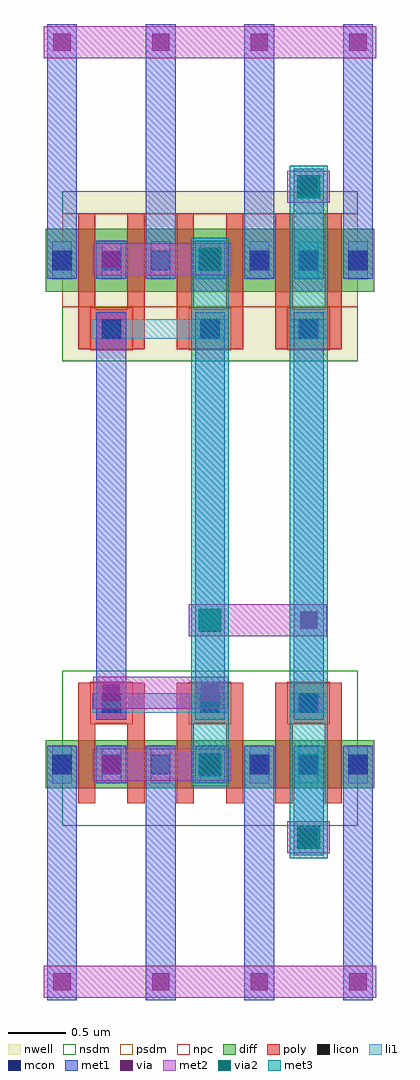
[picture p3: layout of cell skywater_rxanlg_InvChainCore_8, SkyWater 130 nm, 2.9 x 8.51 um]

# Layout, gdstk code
import gdstk
lib = gdstk.Library(unit=1e-6, precision=1e-09)
def R(c, l, rs):  # rectangles x0, y0, x1, y1
    for r in rs: c.add(gdstk.rectangle(r[:2], r[2:], *l))
def A(c, l, x, y, w, h, nx, ny, dx, dy):  # array of equal rectangles
    R(c, l, [(x+i*dx, y+j*dy, x+i*dx+w, y+j*dy+h) for i in range(nx) for j in range(ny)])
def P(c, l, *ps):  # polygons
    for p in ps: c.add(gdstk.Polygon(p, *l))
nwell = (64, 20)
diff = (65, 20)
poly = (66, 20)
licon = (66, 44)
li1 = (67, 20)
mcon = (67, 44)
met1 = (68, 20)
via = (68, 44)
met2 = (69, 20)
via2 = (69, 44)
met3 = (70, 20)
nsdm = (93, 44)
psdm = (94, 20)
npc = (95, 20)

skywater_rxanlg_mosconn_ = lib.new_cell('skywater_rxanlg_MOSConn_8')
R(skywater_rxanlg_mosconn_, diff, [(-0.14,0.605,1.86,1.025)])
R(skywater_rxanlg_mosconn_, poly, [(0.265,0.105,0.595,0.455), (1.125,0.105,1.455,0.455)])
P(skywater_rxanlg_mosconn_, poly, [(0.57,1.155),(0.57,0.455),(0.29,0.455),(0.29,1.155),(0.14,1.155),(0.14,0.105),(0.72,0.105),(0.72,1.155)],
  [(1.43,1.155),(1.43,0.455),(1.15,0.455),(1.15,1.155),(1,1.155),(1,0.105),(1.58,0.105),(1.58,1.155)])
A(skywater_rxanlg_mosconn_, licon, -0.085, 0.73, 0.17, 0.17, 5, 1, 0.43, 0)
R(skywater_rxanlg_mosconn_, licon, [(0.345,0.195,0.515,0.365), (1.205,0.195,1.375,0.365)])
A(skywater_rxanlg_mosconn_, li1, -0.085, 0.65, 0.17, 0.33, 5, 1, 0.43, 0)
A(skywater_rxanlg_mosconn_, li1, -0.085, 0.69, 0.17, 0.25, 5, 1, 0.43, 0)
R(skywater_rxanlg_mosconn_, li1, [(0.265,0.195,1.455,0.365), (0.265,0.195,0.595,0.365), (0.305,0.195,0.555,0.365), (1.125,0.195,1.455,0.365), (1.165,0.195,1.415,0.365)])
A(skywater_rxanlg_mosconn_, mcon, -0.085, 0.73, 0.17, 0.17, 5, 1, 0.43, 0)
R(skywater_rxanlg_mosconn_, mcon, [(0.345,0.195,0.515,0.365), (1.205,0.195,1.375,0.365)])
A(skywater_rxanlg_mosconn_, met1, -0.13, 0.655, 0.26, 0.32, 5, 1, 0.43, 0)
A(skywater_rxanlg_mosconn_, met1, -0.13, 0.67, 0.26, 0.29, 5, 1, 0.43, 0)
R(skywater_rxanlg_mosconn_, met1, [(0.3,0.105,0.56,0.425), (1.16,0.105,1.42,0.425), (0.3,0.135,0.56,0.425), (1.16,0.135,1.42,0.425)])
R(skywater_rxanlg_mosconn_, nsdm, [(0,0,1.72,1.35)])
R(skywater_rxanlg_mosconn_, npc, [(0.245,0.095,0.615,0.465), (1.105,0.095,1.475,0.465)])

c_skywater_rxanlg_mosconn_ = lib.new_cell('skywater_rxanlg_MOSConn_9')
R(c_skywater_rxanlg_mosconn_, nwell, [(0,0,1.72,1.48)])
R(c_skywater_rxanlg_mosconn_, diff, [(-0.14,0.605,1.86,1.155)])
R(c_skywater_rxanlg_mosconn_, poly, [(0.265,0.105,0.595,0.455), (1.125,0.105,1.455,0.455)])
P(c_skywater_rxanlg_mosconn_, poly, [(0.57,1.285),(0.57,0.455),(0.29,0.455),(0.29,1.285),(0.14,1.285),(0.14,0.105),(0.72,0.105),(0.72,1.285)],
  [(1.43,1.285),(1.43,0.455),(1.15,0.455),(1.15,1.285),(1,1.285),(1,0.105),(1.58,0.105),(1.58,1.285)])
A(c_skywater_rxanlg_mosconn_, licon, -0.085, 0.795, 0.17, 0.17, 5, 1, 0.43, 0)
R(c_skywater_rxanlg_mosconn_, licon, [(0.345,0.195,0.515,0.365), (1.205,0.195,1.375,0.365)])
A(c_skywater_rxanlg_mosconn_, li1, -0.085, 0.715, 0.17, 0.33, 5, 1, 0.43, 0)
A(c_skywater_rxanlg_mosconn_, li1, -0.085, 0.755, 0.17, 0.25, 5, 1, 0.43, 0)
R(c_skywater_rxanlg_mosconn_, li1, [(0.265,0.195,1.455,0.365), (0.265,0.195,0.595,0.365), (0.305,0.195,0.555,0.365), (1.125,0.195,1.455,0.365), (1.165,0.195,1.415,0.365)])
A(c_skywater_rxanlg_mosconn_, mcon, -0.085, 0.795, 0.17, 0.17, 5, 1, 0.43, 0)
R(c_skywater_rxanlg_mosconn_, mcon, [(0.345,0.195,0.515,0.365), (1.205,0.195,1.375,0.365)])
A(c_skywater_rxanlg_mosconn_, met1, -0.13, 0.72, 0.26, 0.32, 5, 1, 0.43, 0)
A(c_skywater_rxanlg_mosconn_, met1, -0.13, 0.735, 0.26, 0.29, 5, 1, 0.43, 0)
R(c_skywater_rxanlg_mosconn_, met1, [(0.3,0.105,0.56,0.425), (1.16,0.105,1.42,0.425), (0.3,0.135,0.56,0.425), (1.16,0.135,1.42,0.425)])
R(c_skywater_rxanlg_mosconn_, nsdm, [(0,0,1.72,0.475), (0,1.285,1.72,1.48)])
R(c_skywater_rxanlg_mosconn_, psdm, [(0,0.475,1.72,1.285)])
R(c_skywater_rxanlg_mosconn_, npc, [(0.245,0.095,0.615,0.465), (1.105,0.095,1.475,0.465)])

skywater_rxanlg_invcore_ = lib.new_cell('skywater_rxanlg_InvCore_17')
A(skywater_rxanlg_invcore_, met1, -0.13, -0.16, 0.26, 2.215, 3, 1, 0.86, 0)
A(skywater_rxanlg_invcore_, met1, -0.13, -0.16, 0.26, 0.32, 3, 2, 0.86, 8.19)
A(skywater_rxanlg_invcore_, met1, -0.13, 6.13, 0.26, 2.22, 3, 1, 0.86, 0)
R(skywater_rxanlg_invcore_, met1, [(0.3,1.73,0.56,2.055), (0.3,1.73,0.56,2.05), (1.16,1.73,1.42,2.055), (1.16,1.73,1.42,2.05), (0.3,2.285,0.56,5.835), (1.16,2.285,1.42,5.835), (0.3,2.36,0.56,2.68), (1.16,2.36,1.42,2.68), (0.3,6.13,0.56,6.46), (1.16,6.13,1.42,6.46), (0.3,6.14,0.56,6.46), (1.16,6.14,1.42,6.46)])
A(skywater_rxanlg_invcore_, via, -0.075, -0.075, 0.15, 0.15, 3, 2, 0.86, 8.19)
R(skywater_rxanlg_invcore_, via, [(0.355,1.815,0.505,1.965), (1.215,1.815,1.365,1.965), (0.355,2.445,0.505,2.595), (1.215,2.445,1.365,2.595), (0.355,6.225,0.505,6.375), (1.215,6.225,1.365,6.375)])
A(skywater_rxanlg_invcore_, met2, -0.16, -0.14, 0.32, 0.28, 3, 2, 0.86, 8.19)
R(skywater_rxanlg_invcore_, met2, [(-0.16,-0.14,1.88,0.14), (0.27,1.75,1.475,2.03), (0.27,1.75,0.59,2.03), (1.105,1.75,1.475,2.03), (1.13,1.75,1.45,2.03), (0.27,2.38,1.45,2.66), (0.27,2.38,0.59,2.66), (1.13,2.38,1.45,2.66), (0.27,6.16,1.475,6.44), (0.27,6.16,0.59,6.44), (1.105,6.16,1.475,6.44), (1.13,6.16,1.45,6.44), (-0.16,8.05,1.88,8.33)])
R(skywater_rxanlg_invcore_, via2, [(1.19,1.79,1.39,1.99), (1.19,6.2,1.39,6.4)])
R(skywater_rxanlg_invcore_, met3, [(1.125,1.705,1.455,6.485), (1.125,1.705,1.455,2.075), (1.125,6.115,1.455,6.485)])
skywater_rxanlg_invcore_.add(gdstk.Reference(skywater_rxanlg_mosconn_, (0,2.71), x_reflection=True))
skywater_rxanlg_invcore_.add(gdstk.Reference(c_skywater_rxanlg_mosconn_, (0,5.41)))

c_skywater_rxanlg_mosconn__ = lib.new_cell('skywater_rxanlg_MOSConn_1')
R(c_skywater_rxanlg_mosconn__, diff, [(-0.14,0.605,1,1.025)])
R(c_skywater_rxanlg_mosconn__, poly, [(0.265,0.105,0.595,0.455)])
P(c_skywater_rxanlg_mosconn__, poly, [(0.57,1.155),(0.57,0.455),(0.29,0.455),(0.29,1.155),(0.14,1.155),(0.14,0.105),(0.72,0.105),(0.72,1.155)])
A(c_skywater_rxanlg_mosconn__, licon, -0.085, 0.73, 0.17, 0.17, 3, 1, 0.43, 0)
R(c_skywater_rxanlg_mosconn__, licon, [(0.345,0.195,0.515,0.365)])
A(c_skywater_rxanlg_mosconn__, li1, -0.085, 0.65, 0.17, 0.33, 3, 1, 0.43, 0)
A(c_skywater_rxanlg_mosconn__, li1, -0.085, 0.69, 0.17, 0.25, 3, 1, 0.43, 0)
R(c_skywater_rxanlg_mosconn__, li1, [(0.265,0.195,0.595,0.365), (0.265,0.195,0.595,0.365), (0.305,0.195,0.555,0.365)])
A(c_skywater_rxanlg_mosconn__, mcon, -0.085, 0.73, 0.17, 0.17, 3, 1, 0.43, 0)
R(c_skywater_rxanlg_mosconn__, mcon, [(0.345,0.195,0.515,0.365)])
A(c_skywater_rxanlg_mosconn__, met1, -0.13, 0.655, 0.26, 0.32, 3, 1, 0.43, 0)
A(c_skywater_rxanlg_mosconn__, met1, -0.13, 0.67, 0.26, 0.29, 3, 1, 0.43, 0)
R(c_skywater_rxanlg_mosconn__, met1, [(0.3,0.105,0.56,0.425), (0.3,0.135,0.56,0.425)])
R(c_skywater_rxanlg_mosconn__, nsdm, [(0,0,0.86,1.35)])
R(c_skywater_rxanlg_mosconn__, npc, [(0.245,0.095,0.615,0.465)])

c_skywater_rxanlg_mosconn___ = lib.new_cell('skywater_rxanlg_MOSConn_3')
R(c_skywater_rxanlg_mosconn___, nwell, [(0,0,0.86,1.48)])
R(c_skywater_rxanlg_mosconn___, diff, [(-0.14,0.605,1,1.155)])
R(c_skywater_rxanlg_mosconn___, poly, [(0.265,0.105,0.595,0.455)])
P(c_skywater_rxanlg_mosconn___, poly, [(0.57,1.285),(0.57,0.455),(0.29,0.455),(0.29,1.285),(0.14,1.285),(0.14,0.105),(0.72,0.105),(0.72,1.285)])
A(c_skywater_rxanlg_mosconn___, licon, -0.085, 0.795, 0.17, 0.17, 3, 1, 0.43, 0)
R(c_skywater_rxanlg_mosconn___, licon, [(0.345,0.195,0.515,0.365)])
A(c_skywater_rxanlg_mosconn___, li1, -0.085, 0.715, 0.17, 0.33, 3, 1, 0.43, 0)
A(c_skywater_rxanlg_mosconn___, li1, -0.085, 0.755, 0.17, 0.25, 3, 1, 0.43, 0)
R(c_skywater_rxanlg_mosconn___, li1, [(0.265,0.195,0.595,0.365), (0.265,0.195,0.595,0.365), (0.305,0.195,0.555,0.365)])
A(c_skywater_rxanlg_mosconn___, mcon, -0.085, 0.795, 0.17, 0.17, 3, 1, 0.43, 0)
R(c_skywater_rxanlg_mosconn___, mcon, [(0.345,0.195,0.515,0.365)])
A(c_skywater_rxanlg_mosconn___, met1, -0.13, 0.72, 0.26, 0.32, 3, 1, 0.43, 0)
A(c_skywater_rxanlg_mosconn___, met1, -0.13, 0.735, 0.26, 0.29, 3, 1, 0.43, 0)
R(c_skywater_rxanlg_mosconn___, met1, [(0.3,0.105,0.56,0.425), (0.3,0.135,0.56,0.425)])
R(c_skywater_rxanlg_mosconn___, nsdm, [(0,0,0.86,0.475), (0,1.285,0.86,1.48)])
R(c_skywater_rxanlg_mosconn___, psdm, [(0,0.475,0.86,1.285)])
R(c_skywater_rxanlg_mosconn___, npc, [(0.245,0.095,0.615,0.465)])

c_skywater_rxanlg_invcore_ = lib.new_cell('skywater_rxanlg_InvCore_16')
R(c_skywater_rxanlg_invcore_, met1, [(-0.13,-0.16,0.13,2.055), (-0.13,-0.16,0.13,0.16), (0.73,-0.16,0.99,2.055), (0.73,-0.16,0.99,0.16), (0.3,1.1,0.56,2.055), (0.3,1.1,0.56,1.42), (0.3,2.285,0.56,5.835), (0.3,2.99,0.56,3.31), (-0.13,6.13,0.13,8.35), (0.3,6.13,0.56,7.09), (0.73,6.13,0.99,8.35), (0.3,6.77,0.56,7.09), (-0.13,8.03,0.13,8.35), (0.73,8.03,0.99,8.35)])
R(c_skywater_rxanlg_invcore_, via, [(-0.075,-0.075,0.075,0.075), (0.785,-0.075,0.935,0.075), (0.355,1.185,0.505,1.335), (0.355,3.075,0.505,3.225), (0.355,6.855,0.505,7.005), (-0.075,8.115,0.075,8.265), (0.785,8.115,0.935,8.265)])
R(c_skywater_rxanlg_invcore_, met2, [(-0.16,-0.14,1.02,0.14), (-0.16,-0.14,0.16,0.14), (0.7,-0.14,1.02,0.14), (0.245,1.12,0.615,1.4), (0.245,1.12,0.615,1.4), (0.27,1.12,0.59,1.4), (0.27,3.01,0.59,3.29), (0.27,3.01,0.59,3.29), (0.245,6.79,0.615,7.07), (0.245,6.79,0.615,7.07), (0.27,6.79,0.59,7.07), (-0.16,8.05,1.02,8.33), (-0.16,8.05,0.16,8.33), (0.7,8.05,1.02,8.33)])
R(c_skywater_rxanlg_invcore_, via2, [(0.33,1.16,0.53,1.36), (0.33,6.83,0.53,7.03)])
R(c_skywater_rxanlg_invcore_, met3, [(0.265,1.075,0.595,7.115), (0.265,1.075,0.595,1.445), (0.265,6.745,0.595,7.115)])
c_skywater_rxanlg_invcore_.add(gdstk.Reference(c_skywater_rxanlg_mosconn__, (0,2.71), x_reflection=True))
c_skywater_rxanlg_invcore_.add(gdstk.Reference(c_skywater_rxanlg_mosconn___, (0,5.41)))

skywater_rxanlg_invchain = lib.new_cell('skywater_rxanlg_InvChainCore_8')
R(skywater_rxanlg_invchain, met2, [(-0.16,-0.14,2.74,0.14), (1.105,3.01,2.31,3.29), (1.105,3.01,1.475,3.29), (-0.16,8.05,2.74,8.33)])
R(skywater_rxanlg_invchain, via2, [(1.19,3.05,1.39,3.25)])
R(skywater_rxanlg_invchain, met3, [(1.125,1.705,1.455,6.485), (1.125,2.965,1.455,3.335)])
skywater_rxanlg_invchain.add(gdstk.Reference(skywater_rxanlg_invcore_, (0,0)))
skywater_rxanlg_invchain.add(gdstk.Reference(c_skywater_rxanlg_invcore_, (1.72,0)))

lib.write_gds('skywater_rxanlg_InvChainCore_8.gds')
